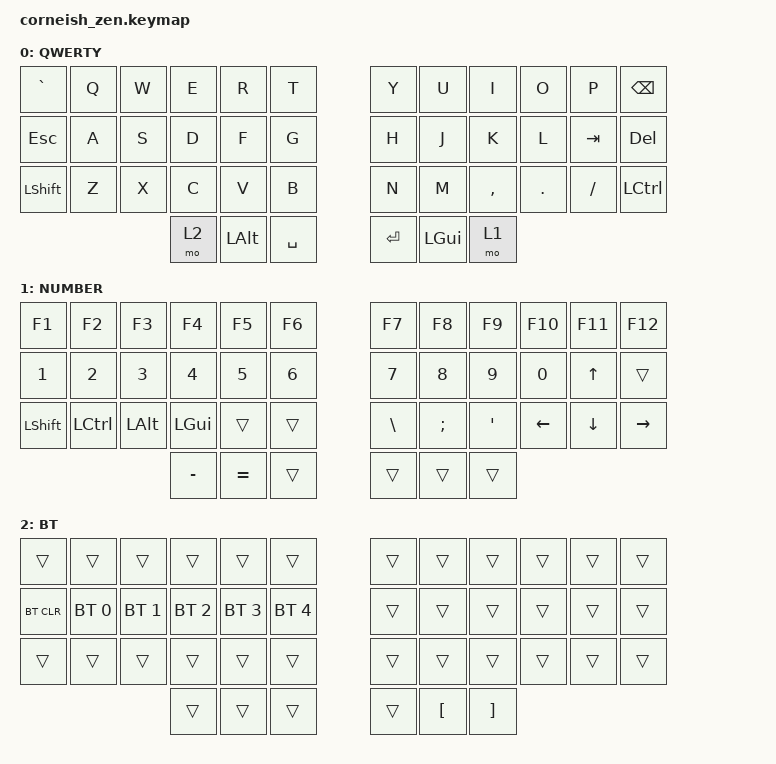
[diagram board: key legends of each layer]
/*
*
* Copyright (c) 2021 Darryl deHaan
* SPDX-License-Identifier: MIT
*
*/

#include <behaviors.dtsi>
#include <dt-bindings/zmk/keys.h>
#include <dt-bindings/zmk/bt.h>

/ {
    chosen {
        zmk,matrix-transform = &default_transform;
        // zmk,matrix-transform = &five_column_transform;
    };
};

/ {
    keymap {
        compatible = "zmk,keymap";

//        default_layer {
//            display-name = "QWERTY";
// --------------------------------------------------------------------------------
// |  TAB |  Q  |  W  |  E  |  R  |  T  |   |  Y  |  U   |  I  |  O  |  P  | BKSP |
// | CTRL |  A  |  S  |  D  |  F  |  G  |   |  H  |  J   |  K  |  L  |  ;  |  '   |
// | SHFT |  Z  |  X  |  C  |  V  |  B  |   |  N  |  M   |  ,  |  .  |  /  | ESC  |
//                    | GUI | LWR | SPC |   | ENT | RSE  | ALT |
//            bindings = <
//&kp TAB   &kp Q &kp W &kp E &kp R &kp T   &kp Y &kp U  &kp I     &kp O   &kp P    &kp BSPC
//&kp LCTRL &kp A &kp S &kp D &kp F &kp G   &kp H &kp J  &kp K     &kp L   &kp SEMI &kp SQT
//&kp LSHFT &kp Z &kp X &kp C &kp V &kp B   &kp N &kp M  &kp COMMA &kp DOT &kp FSLH &kp ESC
//               &kp LGUI &mo 1 &kp SPACE   &kp RET &mo 2 &kp RALT
//            >;
//        };

        default_layer {
            display-name = "QWERTY";
// --------------------------------------------------------------------------------
// |  ` |  Q  |  W  |  E  |  R  |  T  |   |  Y  |  U   |  I  |  O  |  P  | BKSP |
// | ESC |  A  |  S  |  D  |  F  |  G  |   |  H  |  J   |  K  |  L  |  TAB  |  DEL   |
// | SHFT |  Z  |  X  |  C  |  V  |  B  |   |  N  |  M   |  ,  |  .  |  /  | CTRL  |
//                    | LWR | ALT | SPC |   | ENT | RSE  | ALT |
            bindings = <
&kp GRAVE   &kp Q &kp W &kp E &kp R &kp T   &kp Y &kp U  &kp I     &kp O   &kp P    &kp BSPC
&kp ESC &kp A &kp S &kp D &kp F &kp G   &kp H &kp J  &kp K     &kp L   &kp TAB &kp DEL
&kp LSHFT &kp Z &kp X &kp C &kp V &kp B   &kp N &kp M  &kp COMMA &kp DOT &kp FSLH &kp LCTRL
               &mo 2 &kp LALT &kp SPACE   &kp RET &kp LGUI &mo 1
            >;
        };

        lower_layer {
            display-name = "NUMBER";
// -----------------------------------------------------------------------------------------
// |  F1 |  F2  |  F3  |  F4  |  F5  |  F6  |   |  F7  |  F8  |  F9  |  F10  |  F11  | F12 |
// | 1| 2 | 3 | 4 | 5 | 6 |   | 7 | 8 |  9 | 0 |   UP  |      |
// | SHFT |   CTRL  |   ALT  |   GUI  |     |     |   |  \   |   ;  |   '  |  LEFT   |  DOWN   |   RIGHT   |
//                    |  - |  =   |  |   |  |     |  |
            bindings = <
&kp F1    &kp F2       &kp F3       &kp F4       &kp F5       &kp F6         &kp F7   &kp F8   &kp F9 &kp F10    &kp F11 &kp F12
&kp N1 &kp N2 &kp N3 &kp N4 &kp N5 &kp N6   &kp N7 &kp N8 &kp N9 &kp N0 &kp UP &trans
&kp LSHFT  &kp LCTRL       &kp LALT       &kp LGUI       &trans       &trans         &kp BACKSLASH   &kp SEMICOLON   &kp SINGLE_QUOTE &kp LEFT    &kp DOWN &kp RIGHT
                                     &kp MINUS     &kp EQUAL       &trans      &trans  &trans    &trans
            >;
        };

        raise_layer {
            display-name = "BT";
// -----------------------------------------------------------------------------------------
// |    |     |     |     |     |     |   |     |     |     |     |     |   |
// | BTCLR| BT1 | BT2 | BT3 | BT4 | BT5 |   |     |     |     |     |     |      |
// |   |     |     |     |     |     |   |     |     |     |     |   |      |
//                    |   |     |   |   |   |   [  | ]  |
            bindings = <
&trans  &trans &trans &trans &trans &trans   &trans &trans  &trans &trans &trans &trans
&bt BT_CLR &bt BT_SEL 0 &bt BT_SEL 1 &bt BT_SEL 2 &bt BT_SEL 3 &bt BT_SEL 4      &trans &trans &trans &trans &trans &trans
&trans &trans   &trans &trans   &trans   &trans      &trans &trans  &trans        &trans &trans &trans
                          &trans &trans   &trans   &trans   &kp LEFT_BRACKET   &kp RIGHT_BRACKET
            >;
        };
    };
};
